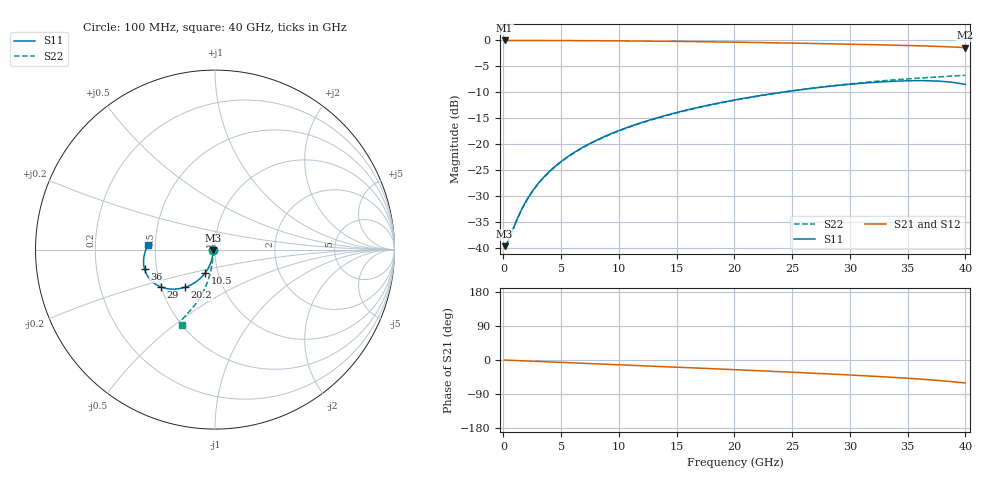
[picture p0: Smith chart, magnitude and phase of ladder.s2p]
! B_s8_L1L3_bd_d200: via ladder as kisi uses it (kisi_si::via_pbm, graded grid, junction model), ports at the via
# Hz S RI R 50
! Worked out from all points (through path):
!   400 points, 100 MHz to 40 GHz, reference 50 ohm
!   highest |S21| = -0.09 dB at 100 MHz (marker M1); lowest = -1.5 dB at 40 GHz (marker M2)
!   group delay of S21, straight-line fit = 3.93 ps
!   lowest |S11| = -39.6 dB at 100 MHz (marker M3), VSWR 1.02, Z = 49 - j0.129 ohm
!   |S11| at or under -10 dB: start of sweep to 24.21 GHz
!   |S22| runs from -39.6 to -6.8 dB; largest |S21 - S12| = 0
!   S11 on the Smith chart (normalised r, x): 100 MHz: 0.98, -0.00; 10.5 GHz: 0.87, -0.23; 20.2 GHz: 0.66, -0.30; 29 GHz: 0.50, -0.24; 36 GHz: 0.43, -0.11; 40 GHz: 0.46, +0.03
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1e8  -0.0104 -0.00132  0.9896 -0.00216  0.9896 -0.00216  -0.0104 -0.00133
4e8  -0.0105 -0.00528  0.9895 -0.00864  0.9895 -0.00864  -0.0105 -0.00531
1.2e9  -0.011 -0.0158  0.9891 -0.0259  0.9891 -0.0259  -0.0107 -0.0159
1.7e9  -0.0116 -0.0224  0.9886 -0.0367  0.9886 -0.0367  -0.0109 -0.0226
2.3e9  -0.0126 -0.0303  0.9878 -0.0496  0.9878 -0.0496  -0.0113 -0.0305
2.9e9  -0.0139 -0.0381  0.9868 -0.0625  0.9868 -0.0625  -0.0118 -0.0385
3.7e9  -0.0161 -0.0485  0.9851 -0.0797  0.9851 -0.0797  -0.0127 -0.049
4.6e9  -0.0191 -0.0601  0.9827 -0.099  0.9827 -0.099  -0.0139 -0.0609
5.6e9  -0.0233 -0.0728  0.9793 -0.1204  0.9793 -0.1204  -0.0155 -0.0741
6.8e9  -0.0294 -0.0877  0.9745 -0.1459  0.9745 -0.1459  -0.018 -0.0899
8.5e9  -0.0399 -0.1081  0.966 -0.1818  0.966 -0.1818  -0.0222 -0.112
1.05e10  -0.0551 -0.1308  0.9537 -0.2235  0.9537 -0.2235  -0.0285 -0.1378
1.34e10  -0.0824 -0.1606  0.9313 -0.2826  0.9313 -0.2826  -0.0398 -0.1746
1.65e10  -0.1176 -0.1871  0.9015 -0.3437  0.9015 -0.3437  -0.055 -0.2125
2.01e10  -0.1654 -0.2094  0.8595 -0.4116  0.8595 -0.4116  -0.0762 -0.2543
2.02e10  -0.1668 -0.2098  0.8583 -0.4135  0.8583 -0.4135  -0.0768 -0.2554
2.67e10  -0.2659 -0.2178  0.7621 -0.5267  0.7621 -0.5267  -0.1227 -0.3217
2.9e10  -0.3023 -0.2077  0.7214 -0.5642  0.7214 -0.5642  -0.14 -0.3416
3.34e10  -0.3662 -0.1607  0.6302 -0.6343  0.6302 -0.6343  -0.1703 -0.3739
3.6e10  -0.3924 -0.1089  0.5628 -0.6757  0.5628 -0.6757  -0.183 -0.3902
3.82e10  -0.3967 -0.0449  0.4906 -0.7104  0.4906 -0.7104  -0.187 -0.4046
4e10  -0.3737 0.0237  0.4135 -0.735  0.4135 -0.735  -0.1832 -0.4209
